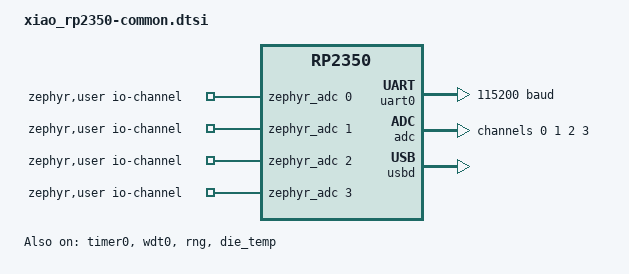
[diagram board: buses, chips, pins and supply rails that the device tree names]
/*
 * SPDX-FileCopyrightText: Copyright (c) 2026 Navimatix GmbH
 * SPDX-FileCopyrightText: Copyright (c) 2026 TiaC Systems
 * SPDX-License-Identifier: Apache-2.0
 */

#include <zephyr/dt-bindings/adc/adc.h>

#include "xiao_rp2350-pinctrl.dtsi"

/ {
	chosen {
		zephyr,sram = &sram0;
		zephyr,console = &zephyr_serial;
		zephyr,shell-uart = &zephyr_serial;
		zephyr,entropy = &rng;
	};

	aliases {
		watchdog0 = &wdt0;
	};

	zephyr,user {
		io-channels = <&zephyr_adc 0>, /* XIAO (1:1) */
			      <&zephyr_adc 1>, /* XIAO (1:1) */
			      <&zephyr_adc 2>, /* XIAO (1:1) */
			      <&zephyr_adc 3>; /* VBAT (1:2) */
	};
};

&timer0 {
	status = "okay";
};

&wdt0 {
	status = "okay";
};

&rng {
	status = "okay";
};

gpio0_lo: &gpio0 {
	status = "okay";
};

zephyr_serial0: &uart0 {
	status = "okay";		/* enable for default console */
	current-speed = <115200>;	/* speed for default console */
	pinctrl-0 = <&uart0_default>;
	pinctrl-names = "default";
};

zephyr_serial: &zephyr_serial0 {};

zephyr_serial1: &uart1 {
	pinctrl-0 = <&uart1_default>;
	pinctrl-names = "default";
};

zephyr_i2c0: &i2c1 {
	pinctrl-0 = <&i2c1_default>;
	pinctrl-names = "default";
};

zephyr_i2c: &zephyr_i2c0 {};

zephyr_i2c1: &i2c0 {
	pinctrl-0 = <&i2c0_default>;
	pinctrl-names = "default";
};

zephyr_spi0: &spi0 {
	pinctrl-0 = <&spi0_default>;
	pinctrl-names = "default";
};

zephyr_spi: &zephyr_spi0 {};

zephyr_spi1: &spi1 {
	pinctrl-0 = <&spi1_default>;
	pinctrl-names = "default";
};

zephyr_adc: &adc {
	pinctrl-0 = <&adc_default>;
	pinctrl-names = "default";
	#address-cells = <1>;
	#size-cells = <0>;

	channel@0 {
		reg = <0>;
		zephyr,gain = "ADC_GAIN_1";
		zephyr,reference = "ADC_REF_INTERNAL";
		zephyr,acquisition-time = <ADC_ACQ_TIME_DEFAULT>;
		zephyr,resolution = <12>;
	};

	channel@1 {
		reg = <1>;
		zephyr,gain = "ADC_GAIN_1";
		zephyr,reference = "ADC_REF_INTERNAL";
		zephyr,acquisition-time = <ADC_ACQ_TIME_DEFAULT>;
		zephyr,resolution = <12>;
	};

	channel@2 {
		reg = <2>;
		zephyr,gain = "ADC_GAIN_1";
		zephyr,reference = "ADC_REF_INTERNAL";
		zephyr,acquisition-time = <ADC_ACQ_TIME_DEFAULT>;
		zephyr,resolution = <12>;
	};

	channel@3 {
		reg = <3>;
		zephyr,gain = "ADC_GAIN_1";
		zephyr,reference = "ADC_REF_INTERNAL";
		zephyr,acquisition-time = <ADC_ACQ_TIME_DEFAULT>;
		zephyr,resolution = <12>;
	};
};

&die_temp {
	status = "okay";
};

zephyr_udc0: &usbd {
	status = "okay";
};
